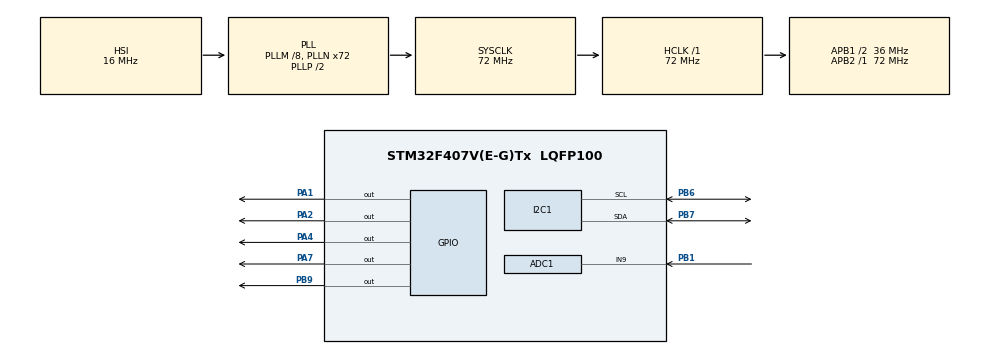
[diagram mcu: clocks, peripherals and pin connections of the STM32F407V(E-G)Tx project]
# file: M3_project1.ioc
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ADC1.Channel-0\#ChannelRegularConversion=ADC_CHANNEL_9
ADC1.ContinuousConvMode=ENABLE
ADC1.NbrOfConversionFlag=1
ADC1.Rank-0\#ChannelRegularConversion=1
ADC1.SamplingTime-0\#ChannelRegularConversion=ADC_SAMPLETIME_3CYCLES
ADC1.master=1
I2C1.I2C_Mode=I2C_Fast
Mcu.Family=STM32F4
Mcu.Name=STM32F407V(E-G)Tx
Mcu.Package=LQFP100
NVIC.PriorityGroup=NVIC_PRIORITYGROUP_4
PA1.Signal=GPIO_Output
PA13.Mode=Serial_Wire
PA13.Signal=SYS_JTMS-SWDIO
PA14.Mode=Serial_Wire
PA14.Signal=SYS_JTCK-SWCLK
PA2.Signal=GPIO_Output
PA4.Signal=GPIO_Output
PA7.Signal=GPIO_Output
PB1.Signal=ADCx_IN9
PB6.Mode=I2C
PB6.Signal=I2C1_SCL
PB7.Mode=I2C
PB7.Signal=I2C1_SDA
PB9.Signal=GPIO_Output
PH0-OSC_IN.Mode=HSE-External-Oscillator
PH0-OSC_IN.Signal=RCC_OSC_IN
PH1-OSC_OUT.Mode=HSE-External-Oscillator
PH1-OSC_OUT.Signal=RCC_OSC_OUT
ProjectManager.HeapSize=0x200
ProjectManager.StackSize=0x400
ProjectManager.TargetToolchain=STM32CubeIDE
RCC.48MHZClocksFreq_Value=36000000
RCC.AHBFreq_Value=72000000
RCC.APB1CLKDivider=RCC_HCLK_DIV2
RCC.APB1Freq_Value=36000000
RCC.APB1TimFreq_Value=72000000
RCC.APB2Freq_Value=72000000
RCC.APB2TimFreq_Value=72000000
RCC.CortexFreq_Value=72000000
RCC.HCLKFreq_Value=72000000
RCC.HSE_VALUE=25000000
RCC.HSI_VALUE=16000000
RCC.LSE_VALUE=32768
RCC.PLLM=8
RCC.PLLN=72
RCC.SYSCLKFreq_VALUE=72000000
RCC.SYSCLKSource=RCC_SYSCLKSOURCE_PLLCLK
RCC.VCOOutputFreq_Value=144000000
SH.ADCx_IN9.0=ADC1_IN9,IN9
TIM1.Prescaler=71
VP_TIM1_VS_ClockSourceINT.Mode=Internal
board=custom

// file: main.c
/* USER CODE BEGIN Header */
/**
  ******************************************************************************
  * @file           : main.c
  * @brief          : Main program body
  ******************************************************************************
  * @attention
  *
  * Copyright (c) 2022 STMicroelectronics.
  * All rights reserved.
  *
  * This software is licensed under terms that can be found in the LICENSE file
  * in the root directory of this software component.
  * If no LICENSE file comes with this software, it is provided AS-IS.
  *
  ******************************************************************************
  */
/* USER CODE END Header */
#include "main.h"

ADC_HandleTypeDef hadc1;

I2C_HandleTypeDef hi2c1;

TIM_HandleTypeDef htim1;

void SystemClock_Config(void);
static void MX_GPIO_Init(void);
static void MX_I2C1_Init(void);
static void MX_TIM1_Init(void);
static void MX_ADC1_Init(void);

/* USER CODE BEGIN 0 */
#define DHT11_PORT GPIOB
#define DHT11_PIN GPIO_PIN_9
uint8_t RHI, RHD, TCI, TCD, SUM;
uint32_t pMillis, cMillis;
float tCelsius = 0;
float tFahrenheit = 0;
float RH = 0;

void microDelay (uint16_t delay)
{
  __HAL_TIM_SET_COUNTER(&htim1, 0);
  while (__HAL_TIM_GET_COUNTER(&htim1) < delay);
}

uint8_t DHT11_Start (void)
{
  uint8_t Response = 0;
  GPIO_InitTypeDef GPIO_InitStructPrivate = {0};
  GPIO_InitStructPrivate.Pin = DHT11_PIN;
  GPIO_InitStructPrivate.Mode = GPIO_MODE_OUTPUT_PP;
  GPIO_InitStructPrivate.Speed = GPIO_SPEED_FREQ_LOW;
  GPIO_InitStructPrivate.Pull = GPIO_NOPULL;
  HAL_GPIO_Init(DHT11_PORT, &GPIO_InitStructPrivate); // set the pin as output
  HAL_GPIO_WritePin (DHT11_PORT, DHT11_PIN, 0);   // pull the pin low
  HAL_Delay(20);   // wait for 20ms
  HAL_GPIO_WritePin (DHT11_PORT, DHT11_PIN, 1);   // pull the pin high
  microDelay (30);   // wait for 30us
  GPIO_InitStructPrivate.Mode = GPIO_MODE_INPUT;
  GPIO_InitStructPrivate.Pull = GPIO_PULLUP;
  HAL_GPIO_Init(DHT11_PORT, &GPIO_InitStructPrivate); // set the pin as input
  microDelay (40);
  if (!(HAL_GPIO_ReadPin (DHT11_PORT, DHT11_PIN)))
  {
    microDelay (80);
    if ((HAL_GPIO_ReadPin (DHT11_PORT, DHT11_PIN))) Response = 1;
  }
  pMillis = HAL_GetTick();
  cMillis = HAL_GetTick();
  while ((HAL_GPIO_ReadPin (DHT11_PORT, DHT11_PIN)) && pMillis + 2 > cMillis)
  {
    cMillis = HAL_GetTick();
  }
  return Response;
}

uint8_t DHT11_Read (void)
{
  uint8_t a,b;
  for (a=0;a<8;a++)
  {
    pMillis = HAL_GetTick();
    cMillis = HAL_GetTick();
    while (!(HAL_GPIO_ReadPin (DHT11_PORT, DHT11_PIN)) && pMillis + 2 > cMillis)
    {  // wait for the pin to go high
      cMillis = HAL_GetTick();
    }
    microDelay (40);   // wait for 40 us
    if (!(HAL_GPIO_ReadPin (DHT11_PORT, DHT11_PIN)))   // if the pin is low
      b&= ~(1<<(7-a));
    else
      b|= (1<<(7-a));
    pMillis = HAL_GetTick();
    cMillis = HAL_GetTick();
    while ((HAL_GPIO_ReadPin (DHT11_PORT, DHT11_PIN)) && pMillis + 2 > cMillis)
    {  // wait for the pin to go low
      cMillis = HAL_GetTick();
    }
  }
  return b;
}
/* USER CODE END 0 */

int main(void)
{

  /* MCU Configuration--------------------------------------------------------*/

  /* Reset of all peripherals, Initializes the Flash interface and the Systick. */
  HAL_Init();

  /* Configure the system clock */
  SystemClock_Config();

  /* Initialize all configured peripherals */
  MX_GPIO_Init();
  MX_I2C1_Init();
  MX_TIM1_Init();
  MX_ADC1_Init();
  /* USER CODE BEGIN 2 */
  HAL_TIM_Base_Start(&htim1);
  MX_GPIO_Init();
    MX_ADC1_Init();
    /* USER CODE BEGIN 2 */
    uint16_t readValue;
  /* USER CODE END 2 */

  /* Infinite loop */
  /* USER CODE BEGIN WHILE */
  while (1)
  {
	  HAL_ADC_Start(&hadc1);
	  	    HAL_ADC_PollForConversion(&hadc1,1000);
	  	    readValue = HAL_ADC_GetValue(&hadc1);

	  	    if (readValue < 70) {
	  	    HAL_GPIO_WritePin(GPIOA, GPIO_PIN_2, 1);
	  	    }
	  	    else{
	  		HAL_GPIO_WritePin(GPIOA, GPIO_PIN_2, 0);
	  	    }

	  if(DHT11_Start())
	      {
	        RHI = DHT11_Read(); // Relative humidity integral
	        RHD = DHT11_Read(); // Relative humidity decimal
	        TCI = DHT11_Read(); // Celsius integral
	        TCD = DHT11_Read(); // Celsius decimal
	        SUM = DHT11_Read(); // Check sum
	        if (RHI + RHD + TCI + TCD == SUM)
	        {
	          // Can use RHI and TCI for any purposes if whole number only needed
	          tCelsius = (float)TCI + (float)(TCD/10.0);
	          tFahrenheit = tCelsius * 9/5 + 32;
	          RH = (float)RHI + (float)(RHD/10.0);
	          // Can use tCelsius, tFahrenheit and RH for any purposes
	        }
	        if (TCI < 15)
	        {
	          HAL_GPIO_WritePin(GPIOA, GPIO_PIN_7, 1);
	          HAL_GPIO_WritePin(GPIOA, GPIO_PIN_4, 0);
	          HAL_GPIO_WritePin(GPIOA, GPIO_PIN_1, 0);
	        }
	        else if (TCI < 25 )
	        {
	          HAL_GPIO_WritePin(GPIOA, GPIO_PIN_7, 0);
	          HAL_GPIO_WritePin(GPIOA, GPIO_PIN_4, 1);
	          HAL_GPIO_WritePin(GPIOA, GPIO_PIN_1, 0);
	        }
	        else
	         {
	          HAL_GPIO_WritePin(GPIOA, GPIO_PIN_7, 0);
	          HAL_GPIO_WritePin(GPIOA, GPIO_PIN_4, 0);
	          HAL_GPIO_WritePin(GPIOA, GPIO_PIN_1, 1);
	        }
	      }

    /* USER CODE END WHILE */

  }
}

void SystemClock_Config(void)
{
  RCC_OscInitTypeDef RCC_OscInitStruct = {0};
  RCC_ClkInitTypeDef RCC_ClkInitStruct = {0};

  /** Configure the main internal regulator output voltage
  */
  __HAL_RCC_PWR_CLK_ENABLE();
  __HAL_PWR_VOLTAGESCALING_CONFIG(PWR_REGULATOR_VOLTAGE_SCALE1);
  /** Initializes the RCC Oscillators according to the specified parameters
  * in the RCC_OscInitTypeDef structure.
  */
  RCC_OscInitStruct.OscillatorType = RCC_OSCILLATORTYPE_HSI;
  RCC_OscInitStruct.HSIState = RCC_HSI_ON;
  RCC_OscInitStruct.HSICalibrationValue = RCC_HSICALIBRATION_DEFAULT;
  RCC_OscInitStruct.PLL.PLLState = RCC_PLL_ON;
  RCC_OscInitStruct.PLL.PLLSource = RCC_PLLSOURCE_HSI;
  RCC_OscInitStruct.PLL.PLLM = 8;
  RCC_OscInitStruct.PLL.PLLN = 72;
  RCC_OscInitStruct.PLL.PLLP = RCC_PLLP_DIV2;
  RCC_OscInitStruct.PLL.PLLQ = 4;
  if (HAL_RCC_OscConfig(&RCC_OscInitStruct) != HAL_OK)
  {
    Error_Handler();
  }
  /** Initializes the CPU, AHB and APB buses clocks
  */
  RCC_ClkInitStruct.ClockType = RCC_CLOCKTYPE_HCLK|RCC_CLOCKTYPE_SYSCLK
                              |RCC_CLOCKTYPE_PCLK1|RCC_CLOCKTYPE_PCLK2;
  RCC_ClkInitStruct.SYSCLKSource = RCC_SYSCLKSOURCE_PLLCLK;
  RCC_ClkInitStruct.AHBCLKDivider = RCC_SYSCLK_DIV1;
  RCC_ClkInitStruct.APB1CLKDivider = RCC_HCLK_DIV2;
  RCC_ClkInitStruct.APB2CLKDivider = RCC_HCLK_DIV1;

  if (HAL_RCC_ClockConfig(&RCC_ClkInitStruct, FLASH_LATENCY_2) != HAL_OK)
  {
    Error_Handler();
  }
}

static void MX_ADC1_Init(void)
{

  ADC_ChannelConfTypeDef sConfig = {0};

  /** Configure the global features of the ADC (Clock, Resolution, Data Alignment and number of conversion)
  */
  hadc1.Instance = ADC1;
  hadc1.Init.ClockPrescaler = ADC_CLOCK_SYNC_PCLK_DIV2;
  hadc1.Init.Resolution = ADC_RESOLUTION_12B;
  hadc1.Init.ScanConvMode = DISABLE;
  hadc1.Init.ContinuousConvMode = ENABLE;
  hadc1.Init.DiscontinuousConvMode = DISABLE;
  hadc1.Init.ExternalTrigConvEdge = ADC_EXTERNALTRIGCONVEDGE_NONE;
  hadc1.Init.ExternalTrigConv = ADC_SOFTWARE_START;
  hadc1.Init.DataAlign = ADC_DATAALIGN_RIGHT;
  hadc1.Init.NbrOfConversion = 1;
  hadc1.Init.DMAContinuousRequests = DISABLE;
  hadc1.Init.EOCSelection = ADC_EOC_SINGLE_CONV;
  if (HAL_ADC_Init(&hadc1) != HAL_OK)
  {
    Error_Handler();
  }
  /** Configure for the selected ADC regular channel its corresponding rank in the sequencer and its sample time.
  */
  sConfig.Channel = ADC_CHANNEL_9;
  sConfig.Rank = 1;
  sConfig.SamplingTime = ADC_SAMPLETIME_3CYCLES;
  if (HAL_ADC_ConfigChannel(&hadc1, &sConfig) != HAL_OK)
  {
    Error_Handler();
  }

}

static void MX_I2C1_Init(void)
{

  hi2c1.Instance = I2C1;
  hi2c1.Init.ClockSpeed = 400000;
  hi2c1.Init.DutyCycle = I2C_DUTYCYCLE_2;
  hi2c1.Init.OwnAddress1 = 0;
  hi2c1.Init.AddressingMode = I2C_ADDRESSINGMODE_7BIT;
  hi2c1.Init.DualAddressMode = I2C_DUALADDRESS_DISABLE;
  hi2c1.Init.OwnAddress2 = 0;
  hi2c1.Init.GeneralCallMode = I2C_GENERALCALL_DISABLE;
  hi2c1.Init.NoStretchMode = I2C_NOSTRETCH_DISABLE;
  if (HAL_I2C_Init(&hi2c1) != HAL_OK)
  {
    Error_Handler();
  }

}

static void MX_TIM1_Init(void)
{

  TIM_ClockConfigTypeDef sClockSourceConfig = {0};
  TIM_MasterConfigTypeDef sMasterConfig = {0};

  htim1.Instance = TIM1;
  htim1.Init.Prescaler = 71;
  htim1.Init.CounterMode = TIM_COUNTERMODE_UP;
  htim1.Init.Period = 65535;
  htim1.Init.ClockDivision = TIM_CLOCKDIVISION_DIV1;
  htim1.Init.RepetitionCounter = 0;
  htim1.Init.AutoReloadPreload = TIM_AUTORELOAD_PRELOAD_DISABLE;
  if (HAL_TIM_Base_Init(&htim1) != HAL_OK)
  {
    Error_Handler();
  }
  sClockSourceConfig.ClockSource = TIM_CLOCKSOURCE_INTERNAL;
  if (HAL_TIM_ConfigClockSource(&htim1, &sClockSourceConfig) != HAL_OK)
  {
    Error_Handler();
  }
  sMasterConfig.MasterOutputTrigger = TIM_TRGO_RESET;
  sMasterConfig.MasterSlaveMode = TIM_MASTERSLAVEMODE_DISABLE;
  if (HAL_TIMEx_MasterConfigSynchronization(&htim1, &sMasterConfig) != HAL_OK)
  {
    Error_Handler();
  }

}

static void MX_GPIO_Init(void)
{
  GPIO_InitTypeDef GPIO_InitStruct = {0};

  /* GPIO Ports Clock Enable */
  __HAL_RCC_GPIOH_CLK_ENABLE();
  __HAL_RCC_GPIOA_CLK_ENABLE();
  __HAL_RCC_GPIOB_CLK_ENABLE();

  /*Configure GPIO pin Output Level */
  HAL_GPIO_WritePin(GPIOA, GPIO_PIN_1|GPIO_PIN_2|GPIO_PIN_4|GPIO_PIN_7, GPIO_PIN_RESET);

  /*Configure GPIO pin Output Level */
  HAL_GPIO_WritePin(GPIOB, GPIO_PIN_9, GPIO_PIN_RESET);

  /*Configure GPIO pins : PA1 PA2 PA4 PA7 */
  GPIO_InitStruct.Pin = GPIO_PIN_1|GPIO_PIN_2|GPIO_PIN_4|GPIO_PIN_7;
  GPIO_InitStruct.Mode = GPIO_MODE_OUTPUT_PP;
  GPIO_InitStruct.Pull = GPIO_NOPULL;
  GPIO_InitStruct.Speed = GPIO_SPEED_FREQ_LOW;
  HAL_GPIO_Init(GPIOA, &GPIO_InitStruct);

  /*Configure GPIO pin : PB9 */
  GPIO_InitStruct.Pin = GPIO_PIN_9;
  GPIO_InitStruct.Mode = GPIO_MODE_OUTPUT_PP;
  GPIO_InitStruct.Pull = GPIO_NOPULL;
  GPIO_InitStruct.Speed = GPIO_SPEED_FREQ_LOW;
  HAL_GPIO_Init(GPIOB, &GPIO_InitStruct);

}

void Error_Handler(void)
{
  __disable_irq();
  while (1)
  {
  }
}
